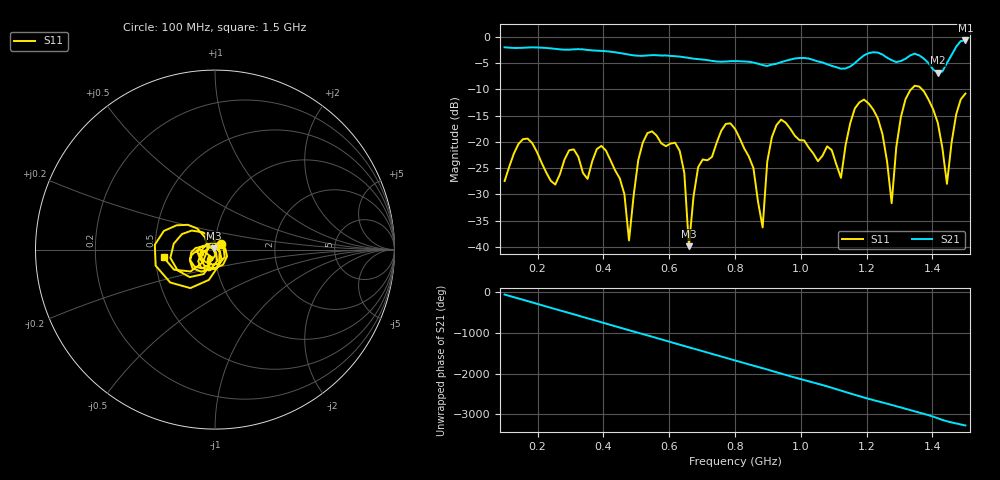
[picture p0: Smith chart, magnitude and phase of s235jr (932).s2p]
! NanoVNA-App
! Date: 2025-09-25 15:11:25
! Start: 100MHz Stop: 1,5GHz Points: 101
! S-Parameter data: F S11 S21 S12 S22
# Hz S RI R 50
!  Frequency  S11_Real  S11_Imag  S21_Real  S21_Imag  S12_Real  S12_Imag  S22_Real  S22_Imag
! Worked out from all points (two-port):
!   101 points, 100 MHz to 1.5 GHz, reference 50 ohm
!   highest |S21| = -0.66 dB at 1.5 GHz (marker M1); lowest = -6.8 dB at 1.416 GHz (marker M2)
!   |S21| within 3 dB of the highest: start of sweep to 616.3 MHz; 1.189 GHz to 1.255 GHz (66.67 MHz wide, 5.46 % of centre) (the widest 2 of 4)
!   lowest |S11| = -39.9 dB at 660 MHz (marker M3), VSWR 1.02, Z = 49.2 + j0.607 ohm
!   |S11| at or under -10 dB: start of sweep to 1.335 GHz; 1.368 GHz to end of sweep
!   S12 and S22 are empty: the file has one direction only
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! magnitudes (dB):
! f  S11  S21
! 100 MHz  -27.5  -2.0
! 170 MHz  -19.4  -2.0
! 338 MHz  -25.9  -2.4
! 408 MHz  -21.7  -2.7
! 478 MHz  -38.8  -3.4
! 520 MHz  -20.1  -3.6
! 576 MHz  -20.3  -3.5
! 632 MHz  -21.7  -3.7
! 660 MHz  -39.9  -4.0
! 688 MHz  -24.8  -4.2
! 800 MHz  -17.5  -4.6
! 884 MHz  -36.3  -5.3
! 926 MHz  -16.8  -5.1
! 1.038 GHz  -22.2  -4.4
! 1.122 GHz  -26.9  -6.0
! 1.192 GHz  -11.9  -3.5
! 1.248 GHz  -18.5  -3.3
! 1.276 GHz  -31.7  -4.4
! 1.332 GHz  -10.2  -3.5
! 1.416 GHz  -16.3  -6.8
! 1.444 GHz  -28.0  -5.0
! 1.5 GHz  -10.8  -0.7
